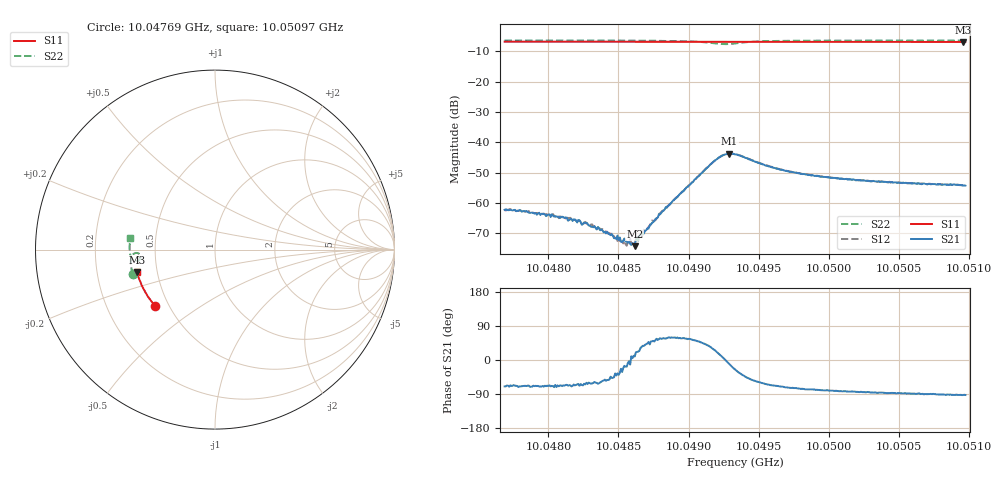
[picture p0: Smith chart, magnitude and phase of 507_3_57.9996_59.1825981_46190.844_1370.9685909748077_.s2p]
#  HZ  S  RI  R  50.00
! Rohde & Schwarz Vector Network Analyzer
! Rohde-Schwarz,ZNB20-2Port,1311601062101988,3.16
! Created: UTC 3/21/2024, 1:13:02 AM
! freq[Hz]  re:S11  im:S11  re:S21  im:S21  re:S12  im:S12  re:S22  im:S22
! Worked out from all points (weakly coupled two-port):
!   401 points, 10.04769 GHz to 10.05097 GHz, reference 50 ohm
!   highest |S21| = -43.73 dB at 10.04929 GHz (marker M1); lowest = -74.2 dB at 10.04862 GHz (marker M2)
!   lowest |S11| = -6.9 dB at 10.05096 GHz (marker M3), VSWR 2.65, Z = 19.2 - j5.98 ohm
!   |S11| at or under -10 dB: nowhere
!   |S22| runs from -7.6 to -6.4 dB; largest |S21 - S12| = 0.00047
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1.0047689e10  -0.3353 -0.3117  0.000267 -0.000723  0.000323 -0.000695  -0.458 -0.1385
1.0047951e10  -0.3464 -0.2984  0.00023 -0.000625  0.000301 -0.000626  -0.4624 -0.1209
1.0048116e10  -0.3532 -0.2901  0.000217 -0.000524  0.000261 -0.000505  -0.4648 -0.1094
1.0048239e10  -0.358 -0.2835  0.000178 -0.000398  0.000209 -0.000434  -0.4663 -0.1005
1.0048296e10  -0.3605 -0.2805  0.000204 -0.000371  0.000211 -0.000376  -0.467 -0.0964
1.0048428e10  -0.3654 -0.2733  0.000192 -0.000253  0.000221 -0.000217  -0.4682 -0.0866
1.0048518e10  -0.3688 -0.2685  0.000211 -9.03e-05  0.000208 -0.0001  -0.4689 -0.0795
1.0048543e10  -0.3697 -0.2672  0.00025 -6.88e-05  0.000223 -8.19e-05  -0.4692 -0.0776
1.00486e10  -0.3718 -0.264  0.000217 1.82e-05  0.000225 8.1e-06  -0.4693 -0.0728
1.0048617e10  -0.3724 -0.2632  0.000192 3.11e-05  0.000219 7.14e-05  -0.4694 -0.0714
1.0048641e10  -0.3733 -0.2618  0.000222 9.06e-05  0.000246 0.000134  -0.4694 -0.0695
1.0048715e10  -0.376 -0.2578  0.000255 0.000279  0.000276 0.000296  -0.4692 -0.063
1.0048789e10  -0.3785 -0.2535  0.000372 0.000533  0.000352 0.000557  -0.4688 -0.0561
1.0049167e10  -0.3909 -0.232  0.00389 0.00237  0.00372 0.00259  -0.4344 -0.0189
1.0049232e10  -0.3928 -0.2283  0.00578 0.00113  0.00574 0.00147  -0.4178 -0.029
1.004929e10  -0.3944 -0.2251  0.0064 -0.00117  0.00649 -0.000782  -0.4155 -0.0486
1.0049331e10  -0.3957 -0.223  0.00575 -0.00266  0.00599 -0.00231  -0.4235 -0.0596
1.0049618e10  -0.4047 -0.2064  0.0014 -0.00347  0.00161 -0.00341  -0.4676 -0.0423
1.0049881e10  -0.4118 -0.1907  0.000619 -0.00278  0.000772 -0.00277  -0.4741 -0.0174
1.0050431e10  -0.4249 -0.157  0.000122 -0.00221  0.000276 -0.00222  -0.4755 0.0248
1.0050957e10  -0.4348 -0.124  -8.6e-05 -0.00194  3.28e-05 -0.00198  -0.472 0.0613
1.0050973e10  -0.4351 -0.1231  -7.69e-05 -0.00193  3.04e-05 -0.00197  -0.4718 0.0625
